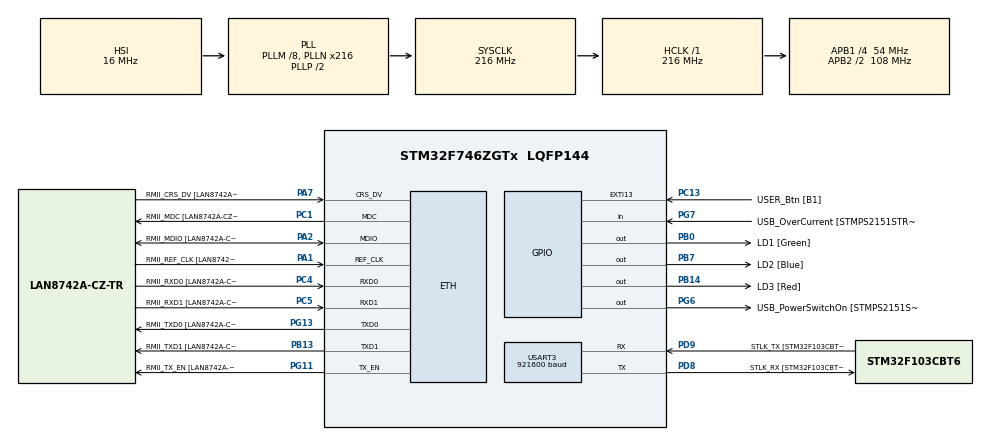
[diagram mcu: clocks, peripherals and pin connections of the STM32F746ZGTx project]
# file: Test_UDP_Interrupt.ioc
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Dma.Request0=USART3_TX
Dma.USART3_TX.0.Direction=DMA_MEMORY_TO_PERIPH
Dma.USART3_TX.0.FIFOMode=DMA_FIFOMODE_DISABLE
Dma.USART3_TX.0.Instance=DMA1_Stream3
Dma.USART3_TX.0.MemDataAlignment=DMA_MDATAALIGN_BYTE
Dma.USART3_TX.0.MemInc=DMA_MINC_ENABLE
Dma.USART3_TX.0.Mode=DMA_NORMAL
Dma.USART3_TX.0.PeriphDataAlignment=DMA_PDATAALIGN_BYTE
Dma.USART3_TX.0.PeriphInc=DMA_PINC_DISABLE
Dma.USART3_TX.0.Priority=DMA_PRIORITY_LOW
ETH.MACAddr=00\:80\:E0\:AA\:00\:FB
ETH.MediaInterface=ETH_MEDIA_INTERFACE_RMII
ETH.PHY_Name=LAN8742A_PHY_ADDRESS
ETH.PHY_Value=0
ETH.PhyAddress=0
ETH.RxMode=ETH_RXPOLLING_MODE
LWIP.CHECKSUM_BY_HARDWARE=1
LWIP.LWIP_NETIF_LINK_CALLBACK=1
LWIP.LWIP_NETIF_STATUS_CALLBACK=1
LWIP.LWIP_TCP=0
LWIP.MEMP_NUM_UDP_PCB=1
LWIP.Version=v2.0.3_Cube
Mcu.Family=STM32F7
Mcu.Name=STM32F746ZGTx
Mcu.Package=LQFP144
NVIC.DMA1_Stream3_IRQn=true\:0\:0\:false\:false\:true\:false\:true
NVIC.ETH_WKUP_IRQn=true\:0\:0\:false\:false\:true\:true\:true
NVIC.EXTI15_10_IRQn=true\:15\:0\:true\:false\:true\:true\:true
NVIC.PriorityGroup=NVIC_PRIORITYGROUP_4
NVIC.TIM8_TRG_COM_TIM14_IRQn=true\:1\:0\:true\:false\:true\:true\:true
NVIC.TIM8_UP_TIM13_IRQn=true\:2\:0\:true\:false\:true\:true\:true
NVIC.USART3_IRQn=true\:0\:0\:true\:false\:true\:true\:true
PA1.GPIO_Label=RMII_REF_CLK [LAN8742A-CZ-TR_REFCLK0]
PA1.Mode=RMII
PA1.Signal=ETH_REF_CLK
PA10.GPIO_Label=USB_ID
PA10.Signal=USB_OTG_FS_ID
PA11.GPIO_Label=USB_DM
PA11.Signal=USB_OTG_FS_DM
PA12.GPIO_Label=USB_DP
PA12.Signal=USB_OTG_FS_DP
PA13.GPIO_Label=TMS
PA13.Mode=Serial_Wire
PA13.Signal=SYS_JTMS-SWDIO
PA14.GPIO_Label=TCK
PA14.Mode=Serial_Wire
PA14.Signal=SYS_JTCK-SWCLK
PA2.GPIO_Label=RMII_MDIO [LAN8742A-CZ-TR_MDIO]
PA2.Mode=RMII
PA2.Signal=ETH_MDIO
PA7.GPIO_Label=RMII_CRS_DV [LAN8742A-CZ-TR_CRS_DV]
PA7.Mode=RMII
PA7.Signal=ETH_CRS_DV
PA8.GPIO_Label=USB_SOF [TP1]
PA8.Signal=USB_OTG_FS_SOF
PA9.GPIO_Label=USB_VBUS
PA9.Signal=USB_OTG_FS_VBUS
PB0.GPIO_Label=LD1 [Green]
PB0.Signal=GPIO_Output
PB13.GPIO_Label=RMII_TXD1 [LAN8742A-CZ-TR_TXD1]
PB13.Mode=RMII
PB13.Signal=ETH_TXD1
PB14.GPIO_Label=LD3 [Red]
PB14.Signal=GPIO_Output
PB3.GPIO_Label=SW0
PB3.Signal=SYS_JTDO-SWO
PB7.GPIO_Label=LD2 [Blue]
PB7.Signal=GPIO_Output
PC1.GPIO_Label=RMII_MDC [LAN8742A-CZ-TR_MDC]
PC1.Mode=RMII
PC1.Signal=ETH_MDC
PC13.GPIO_Label=USER_Btn [B1]
PC13.GPIO_ModeDefaultEXTI=GPIO_MODE_IT_FALLING
PC13.Signal=GPXTI13
PC14/OSC32_IN.Mode=LSE-External-Oscillator
PC14/OSC32_IN.Signal=RCC_OSC32_IN
PC15/OSC32_OUT.Mode=LSE-External-Oscillator
PC15/OSC32_OUT.Signal=RCC_OSC32_OUT
PC4.GPIO_Label=RMII_RXD0 [LAN8742A-CZ-TR_RXD0]
PC4.Mode=RMII
PC4.Signal=ETH_RXD0
PC5.GPIO_Label=RMII_RXD1 [LAN8742A-CZ-TR_RXD1]
PC5.Mode=RMII
PC5.Signal=ETH_RXD1
PD8.GPIO_Label=STLK_RX [STM32F103CBT6_PA3]
PD8.Mode=Asynchronous
PD8.Signal=USART3_TX
PD9.GPIO_Label=STLK_TX [STM32F103CBT6_PA2]
PD9.Mode=Asynchronous
PD9.Signal=USART3_RX
PG11.GPIO_Label=RMII_TX_EN [LAN8742A-CZ-TR_TXEN]
PG11.Mode=RMII
PG11.Signal=ETH_TX_EN
PG13.GPIO_Label=RMII_TXD0 [LAN8742A-CZ-TR_TXD0]
PG13.Mode=RMII
PG13.Signal=ETH_TXD0
PG6.GPIO_Label=USB_PowerSwitchOn [STMPS2151STR_EN]
PG6.Signal=GPIO_Output
PG7.GPIO_Label=USB_OverCurrent [STMPS2151STR_FAULT]
PG7.Signal=GPIO_Input
PH0/OSC_IN.GPIO_Label=MCO [STM32F103CBT6_PA8]
PH0/OSC_IN.Mode=HSE-External-Clock-Source
PH0/OSC_IN.Signal=RCC_OSC_IN
PH1/OSC_OUT.Mode=HSE-External-Clock-Source
PH1/OSC_OUT.Signal=RCC_OSC_OUT
ProjectManager.HeapSize=0x200
ProjectManager.StackSize=0x400
ProjectManager.TargetToolchain=STM32CubeIDE
RCC.48MHZClocksFreq_Value=24000000
RCC.AHBFreq_Value=216000000
RCC.APB1CLKDivider=RCC_HCLK_DIV4
RCC.APB1Freq_Value=54000000
RCC.APB1TimFreq_Value=108000000
RCC.APB2CLKDivider=RCC_HCLK_DIV2
RCC.APB2Freq_Value=108000000
RCC.APB2TimFreq_Value=216000000
RCC.CortexFreq_Value=216000000
RCC.HCLKFreq_Value=216000000
RCC.HSE_VALUE=8000000
RCC.HSI_VALUE=16000000
RCC.PLLM=8
RCC.PLLMUL=RCC_PLL_MUL9
RCC.PLLN=216
RCC.PLLQ=3
RCC.PRESCALERUSB=RCC_USBCLKSOURCE_PLL_DIV1_5
RCC.SYSCLKFreq_VALUE=216000000
RCC.SYSCLKSource=RCC_SYSCLKSOURCE_PLLCLK
RCC.SYSCLKSourceVirtual=RCC_SYSCLKSOURCE_PLLCLK
RCC.USBFreq_Value=144000000
RCC.VCOOutputFreq_Value=432000000
USART3.BaudRate=921600
USART3.VirtualMode-Asynchronous=VM_ASYNC
VP_LWIP_VS_Enabled.Mode=Enabled
VP_TIM13_VS_ClockSourceINT.Mode=Enable_Timer
VP_TIM14_VS_ClockSourceINT.Mode=Enable_Timer
board=NUCLEO-F746ZG

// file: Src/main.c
/* USER CODE BEGIN Header */
/**
  ******************************************************************************
  * @file           : main.c
  * @brief          : Main program body
  ******************************************************************************
  * @attention
  *
  * <h2><center>&copy; Copyright (c) 2019 STMicroelectronics.
  * All rights reserved.</center></h2>
  *
  * This software component is licensed by ST under Ultimate Liberty license
  * SLA0044, the "License"; You may not use this file except in compliance with
  * the License. You may obtain a copy of the License at:
  *                             www.st.com/SLA0044
  *
  ******************************************************************************
  */
/* USER CODE END Header */

#include "main.h"
#include "dma.h"
#include "gfxsimulator.h"
#include "lwip.h"
#include "tim.h"
#include "usart.h"
#include "gpio.h"

/* USER CODE BEGIN Includes */
#include "string.h"
#include "udp_echoserver.h"
#include "udp_echoclient.h"

#include  <errno.h>
#include  <sys/unistd.h> // STDOUT_FILENO, STDERR_FILENO
/* USER CODE END Includes */

/* USER CODE BEGIN PV */
volatile uint8_t flag_Button = 0;
/* USER CODE END PV */

void SystemClock_Config(void);
/* USER CODE BEGIN PFP */
void HAL_GPIO_EXTI_Callback(uint16_t GPIO_Pin);
/* USER CODE END PFP */

int main(void)
{

  /* MCU Configuration--------------------------------------------------------*/

  /* Reset of all peripherals, Initializes the Flash interface and the Systick. */
  HAL_Init();

  /* Configure the system clock */
  SystemClock_Config();

  /* Initialize all configured peripherals */
  MX_GPIO_Init();
  MX_DMA_Init();
  MX_USART3_UART_Init();
  MX_LWIP_Init();
  MX_TIM13_Init();
  MX_TIM14_Init();
  /* USER CODE BEGIN 2 */
  udp_echoclient_connect(); // Comunicacion PLACA -> ORDENADOR en un solo sentido
  udp_echoserver_init(); // Comunicacion BIDIRECCIONAL PLACA <-> ORDENADOR en dos sentidos

  uint8_t cadena_init[] = "Sistema inicializado...\r\n";
  uint16_t len_cadena_init = strlen((const char*)cadena_init);
  while(HAL_UART_GetState(&huart3) != HAL_UART_STATE_READY){}
  HAL_UART_Transmit_DMA(&huart3,(uint8_t *) cadena_init,len_cadena_init);
  HAL_GPIO_WritePin(GPIOB, LD1_Pin|LD3_Pin|LD2_Pin, GPIO_PIN_SET); // Ponemos a SET el pin LD1, LD2 y LD3
  /* USER CODE END 2 */

  /* Infinite loop */
  /* USER CODE BEGIN WHILE */
  while (1)
  {
	  if(flag_Button)
	  {
		uint8_t cadena[] = "Boton pulsado UART\r\n";
		uint16_t len_cadena = strlen((const char*)cadena);
		HAL_UART_Transmit_DMA(&huart3,(uint8_t *) cadena,len_cadena);
		udp_echoclient_send();
		HAL_Delay(100);
		flag_Button = 0;
	  }

    /* USER CODE END WHILE */

    /* USER CODE BEGIN 3 */
  MX_LWIP_Process();
  }
  /* USER CODE END 3 */
}

void SystemClock_Config(void)
{
  RCC_OscInitTypeDef RCC_OscInitStruct = {0};
  RCC_ClkInitTypeDef RCC_ClkInitStruct = {0};
  RCC_PeriphCLKInitTypeDef PeriphClkInitStruct = {0};

  /** Configure LSE Drive Capability
  */
  HAL_PWR_EnableBkUpAccess();
  /** Configure the main internal regulator output voltage
  */
  __HAL_RCC_PWR_CLK_ENABLE();
  __HAL_PWR_VOLTAGESCALING_CONFIG(PWR_REGULATOR_VOLTAGE_SCALE1);
  /** Initializes the CPU, AHB and APB busses clocks
  */
  RCC_OscInitStruct.OscillatorType = RCC_OSCILLATORTYPE_HSI;
  RCC_OscInitStruct.HSIState = RCC_HSI_ON;
  RCC_OscInitStruct.HSICalibrationValue = RCC_HSICALIBRATION_DEFAULT;
  RCC_OscInitStruct.PLL.PLLState = RCC_PLL_ON;
  RCC_OscInitStruct.PLL.PLLSource = RCC_PLLSOURCE_HSI;
  RCC_OscInitStruct.PLL.PLLM = 8;
  RCC_OscInitStruct.PLL.PLLN = 216;
  RCC_OscInitStruct.PLL.PLLP = RCC_PLLP_DIV2;
  RCC_OscInitStruct.PLL.PLLQ = 3;

  if (HAL_RCC_OscConfig(&RCC_OscInitStruct) != HAL_OK)
  {
    Error_Handler();
  }
  /** Activate the Over-Drive mode
  */
  if (HAL_PWREx_EnableOverDrive() != HAL_OK)
  {
    Error_Handler();
  }
  /** Initializes the CPU, AHB and APB busses clocks
  */
  RCC_ClkInitStruct.ClockType = RCC_CLOCKTYPE_HCLK|RCC_CLOCKTYPE_SYSCLK
                              |RCC_CLOCKTYPE_PCLK1|RCC_CLOCKTYPE_PCLK2;
  RCC_ClkInitStruct.SYSCLKSource = RCC_SYSCLKSOURCE_PLLCLK;
  RCC_ClkInitStruct.AHBCLKDivider = RCC_SYSCLK_DIV1;
  RCC_ClkInitStruct.APB1CLKDivider = RCC_HCLK_DIV4;
  RCC_ClkInitStruct.APB2CLKDivider = RCC_HCLK_DIV2;

  if (HAL_RCC_ClockConfig(&RCC_ClkInitStruct, FLASH_LATENCY_7) != HAL_OK)
  {
    Error_Handler();
  }
  PeriphClkInitStruct.PeriphClockSelection = RCC_PERIPHCLK_USART3;
  PeriphClkInitStruct.Usart3ClockSelection = RCC_USART3CLKSOURCE_PCLK1;
  if (HAL_RCCEx_PeriphCLKConfig(&PeriphClkInitStruct) != HAL_OK)
  {
    Error_Handler();
  }
}

/* USER CODE BEGIN 4 */
void HAL_GPIO_EXTI_Callback(uint16_t GPIO_Pin)
{
	if(!flag_Button)
		flag_Button = 1;
	//HAL_Delay(4);

}
/* USER CODE END 4 */

void Error_Handler(void)
{
}

/************************ (C) COPYRIGHT STMicroelectronics *****END OF FILE****/
